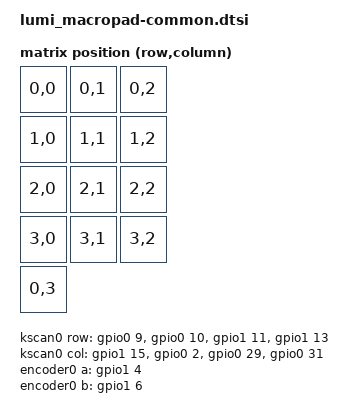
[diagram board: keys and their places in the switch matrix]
\
#include <dt-bindings/zmk/matrix_transform.h>
#include <zephyr/dt-bindings/gpio/gpio.h>
#include "lumi_macropad-layouts.dtsi"

/ {
    chosen {
        zmk,kscan = &kscan0;
        zmk,physical-layout = &lumi_macropad_layout;
    };

    /*
     * Physical pins printed on the user's board:
     *
     * ROW0 009 = P0.09
     * ROW1 010 = P0.10
     * ROW2 111 = P1.11
     * ROW3 113 = P1.13
     *
     * COL0 115 = P1.15
     * COL1 002 = P0.02
     * COL2 029 = P0.29
     * COL3 031 = P0.31
     *
     * Diodes: COL -> switch -> diode -> ROW
     * Black stripe/cathode toward ROW => col2row.
     */
    kscan0: kscan {
        compatible = "zmk,kscan-gpio-matrix";
        wakeup-source;
        diode-direction = "col2row";

        row-gpios
            = <&gpio0 9  (GPIO_ACTIVE_HIGH | GPIO_PULL_DOWN)>
            , <&gpio0 10 (GPIO_ACTIVE_HIGH | GPIO_PULL_DOWN)>
            , <&gpio1 11 (GPIO_ACTIVE_HIGH | GPIO_PULL_DOWN)>
            , <&gpio1 13 (GPIO_ACTIVE_HIGH | GPIO_PULL_DOWN)>
            ;

        col-gpios
            = <&gpio1 15 GPIO_ACTIVE_HIGH>
            , <&gpio0 2  GPIO_ACTIVE_HIGH>
            , <&gpio0 29 GPIO_ACTIVE_HIGH>
            , <&gpio0 31 GPIO_ACTIVE_HIGH>
            ;
    };

    /*
     * Keymap order intentionally omits the 3 unused positions in COL3,
     * then puts encoder push (ROW0/COL3) at position 13.
     */
    default_transform: keymap_transform {
        compatible = "zmk,matrix-transform";
        rows = <4>;
        columns = <4>;

        map = <
            RC(0,0) RC(0,1) RC(0,2)
            RC(1,0) RC(1,1) RC(1,2)
            RC(2,0) RC(2,1) RC(2,2)
            RC(3,0) RC(3,1) RC(3,2)
            RC(0,3)
        >;
    };

    /*
     * EC11:
     * A = physical 104 = P1.04
     * B = physical 106 = P1.06
     */
    encoder0: encoder0 {
        compatible = "alps,ec11";
        a-gpios = <&gpio1 4 (GPIO_ACTIVE_HIGH | GPIO_PULL_UP)>;
        b-gpios = <&gpio1 6 (GPIO_ACTIVE_HIGH | GPIO_PULL_UP)>;
        steps = <80>;
        status = "okay";
    };

    sensors: sensors {
        compatible = "zmk,keymap-sensors";
        sensors = <&encoder0>;
        triggers-per-rotation = <20>;
    };
};

&lumi_macropad_layout {
    transform = <&default_transform>;
    kscan = <&kscan0>;
};
